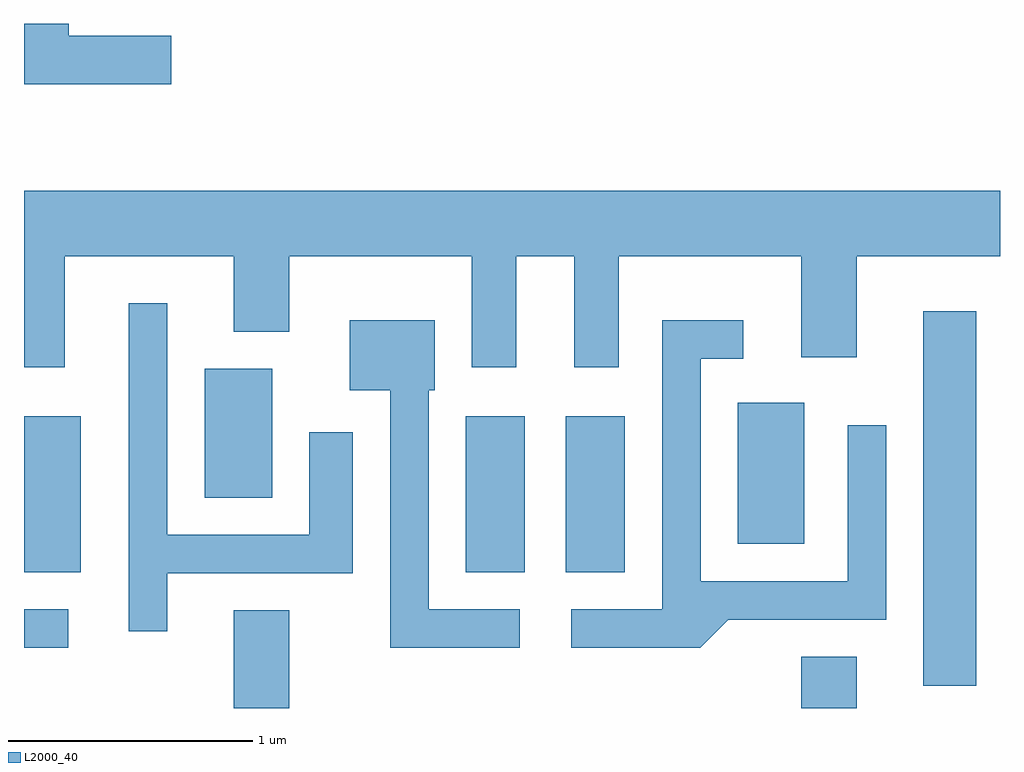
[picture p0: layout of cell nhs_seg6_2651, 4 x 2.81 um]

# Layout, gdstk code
import gdstk
lib = gdstk.Library(unit=1e-6, precision=1e-09)
def R(c, l, rs):  # rectangles x0, y0, x1, y1
    for r in rs: c.add(gdstk.rectangle(r[:2], r[2:], *l))
def P(c, l, *ps):  # polygons
    for p in ps: c.add(gdstk.Polygon(p, *l))
L2000_40 = (2000, 40)

nhs_seg6_2651 = lib.new_cell('nhs_seg6_2651')
R(nhs_seg6_2651, L2000_40, [(266.471,1568.162,266.699,1568.564), (268.796,1568.162,269.024,1568.374), (269.296,1568.256,269.514,1569.789), (265.611,1568.411,265.793,1568.569), (265.611,1568.721,265.844,1569.359), (267.421,1568.721,267.664,1569.359), (267.831,1568.721,268.074,1569.359), (268.536,1568.836,268.809,1569.414), (266.351,1569.026,266.629,1569.554)])
P(nhs_seg6_2651, L2000_40, [(266.214,1570.919),(265.794,1570.919),(265.794,1570.969),(265.611,1570.969),(265.611,1570.721),(266.214,1570.721)],
  [(265.611,1569.561),(265.779,1569.561),(265.779,1570.016),(266.471,1570.016),(266.471,1569.706),(266.699,1569.706),(266.699,1570.016),(267.446,1570.016),(267.446,1569.561),(267.629,1569.561),(267.629,1570.016),(267.866,1570.016),(267.866,1569.561),(268.049,1569.561),(268.049,1570.016),(268.796,1570.016),(268.796,1569.601),(269.024,1569.601),(269.024,1570.016),(269.611,1570.016),(269.611,1570.284),(265.611,1570.284)],
  [(266.199,1568.716),(266.959,1568.716),(266.959,1569.294),(266.781,1569.294),(266.781,1568.874),(266.199,1568.874),(266.199,1569.823),(266.041,1569.823),(266.041,1568.478),(266.199,1568.478)],
  [(267.643,1568.569),(267.269,1568.569),(267.269,1569.466),(267.294,1569.466),(267.294,1569.754),(266.946,1569.754),(266.946,1569.466),(267.111,1569.466),(267.111,1568.411),(267.643,1568.411)],
  [(268.497,1568.526),(269.144,1568.526),(269.144,1569.323),(268.986,1569.323),(268.986,1568.684),(268.384,1568.684),(268.384,1569.596),(268.558,1569.596),(268.558,1569.754),(268.226,1569.754),(268.226,1568.569),(267.853,1568.569),(267.853,1568.411),(268.382,1568.411)])

lib.write_gds('nhs_seg6_2651.gds')
